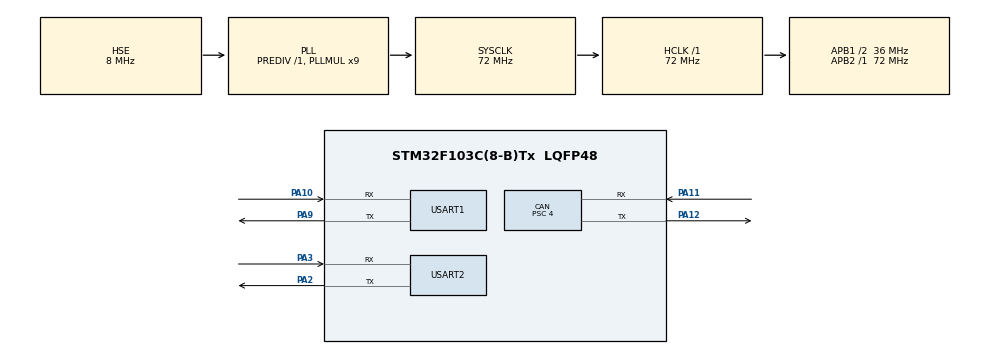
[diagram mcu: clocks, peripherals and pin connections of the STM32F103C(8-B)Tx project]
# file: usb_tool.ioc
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CAN.BS1=CAN_BS1_9TQ
CAN.BS2=CAN_BS2_8TQ
CAN.CalculateBaudRate=500000
CAN.CalculateTimeBit=2000
CAN.CalculateTimeQuantum=111.11111111111111
CAN.Prescaler=4
Mcu.Family=STM32F1
Mcu.Name=STM32F103C(8-B)Tx
Mcu.Package=LQFP48
NVIC.PriorityGroup=NVIC_PRIORITYGROUP_4
NVIC.USART1_IRQn=true\:0\:0\:false\:false\:true\:true\:true\:true
NVIC.USART2_IRQn=true\:0\:0\:false\:false\:true\:true\:true\:true
NVIC.USB_LP_CAN1_RX0_IRQn=true\:0\:0\:false\:false\:true\:true\:true\:true
PA10.Mode=Asynchronous
PA10.Signal=USART1_RX
PA11.Mode=CAN_Activate
PA11.Signal=CAN_RX
PA12.Mode=CAN_Activate
PA12.Signal=CAN_TX
PA13.Mode=Serial_Wire
PA13.Signal=SYS_JTMS-SWDIO
PA14.Mode=Serial_Wire
PA14.Signal=SYS_JTCK-SWCLK
PA2.Mode=Asynchronous
PA2.Signal=USART2_TX
PA3.Mode=Asynchronous
PA3.Signal=USART2_RX
PA9.Mode=Asynchronous
PA9.Signal=USART1_TX
PC14-OSC32_IN.Mode=LSE-External-Oscillator
PC14-OSC32_IN.Signal=RCC_OSC32_IN
PC15-OSC32_OUT.Mode=LSE-External-Oscillator
PC15-OSC32_OUT.Signal=RCC_OSC32_OUT
PD0-OSC_IN.Mode=HSE-External-Oscillator
PD0-OSC_IN.Signal=RCC_OSC_IN
PD1-OSC_OUT.Mode=HSE-External-Oscillator
PD1-OSC_OUT.Signal=RCC_OSC_OUT
ProjectManager.HeapSize=0x200
ProjectManager.StackSize=0x400
ProjectManager.TargetToolchain=MDK-ARM V5
RCC.AHBFreq_Value=72000000
RCC.APB1CLKDivider=RCC_HCLK_DIV2
RCC.APB1Freq_Value=36000000
RCC.APB1TimFreq_Value=72000000
RCC.APB2Freq_Value=72000000
RCC.APB2TimFreq_Value=72000000
RCC.HCLKFreq_Value=72000000
RCC.PLLMUL=RCC_PLL_MUL9
RCC.PLLSourceVirtual=RCC_PLLSOURCE_HSE
RCC.SYSCLKFreq_VALUE=72000000
RCC.SYSCLKSource=RCC_SYSCLKSOURCE_PLLCLK
RCC.USBFreq_Value=72000000
USART1.VirtualMode=VM_ASYNC
USART2.VirtualMode=VM_ASYNC
board=custom

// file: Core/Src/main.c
/* USER CODE BEGIN Header */
/**
 ******************************************************************************
 * @file           : main.c
 * @brief          : Main program body
 ******************************************************************************
 * @attention
 *
 * Copyright (c) 2024 STMicroelectronics.
 * All rights reserved.
 *
 * This software is licensed under terms that can be found in the LICENSE file
 * in the root directory of this software component.
 * If no LICENSE file comes with this software, it is provided AS-IS.
 *
 ******************************************************************************
 */
/* USER CODE END Header */
#include "main.h"
#include "can.h"
#include "usart.h"
#include "gpio.h"

/* USER CODE BEGIN Includes */
#include "boot_manager.h"
#include "inter_flashif.h"
#include "inter_flash_cfg.h"
#include "ymodem.h"
#include "common.h"
#include <stdio.h>

#include "common.h"
#include "canif.h"
#include "isotp.h"
#include "iso_tp_cfg.h"
/* USER CODE END Includes */

void SystemClock_Config(void);
/* USER CODE BEGIN PFP */
uint8_t ymodule_run_flag = 0; // ymodule 运行标志
/* USER CODE END PFP */

/* USER CODE BEGIN 0 */
#define OTA_CALL_MAX_WAIT           (5*1000)            //5S ota升级呼叫等待超时
uint8_t tx_data[8] ={0};

static uint8_t pData[128];
static uint8_t ota_call_flag = 0;           //ota升级呼叫标志
static uint32_t ota_call_tick = 0;           //ota升级呼叫等待

/* USER CODE END 0 */

int main(void)
{

  /* MCU Configuration--------------------------------------------------------*/

  /* Reset of all peripherals, Initializes the Flash interface and the Systick. */
  HAL_Init();

  /* Configure the system clock */
  SystemClock_Config();

  /* Initialize all configured peripherals */
  MX_GPIO_Init();
  MX_USART1_UART_Init();
  MX_CAN_Init();
  MX_USART2_UART_Init();
  /* USER CODE BEGIN 2 */
  printf("uart1:usb tool...\r\n");
  HAL_UART_Transmit(&huart2, "uart2:usb tool...\r\n", strlen("uart2:usb tool\r\n"), 0xff);
  canif_init(); // CAN底层功能初始化
  iso_tp_init(); // TP层功能初始化

  while (1)
  {

#if 1
    //等待上位机发送升级
    if (HAL_UART_Receive(&huart2, pData, 4, 0xFF) == HAL_OK) // 0xAF 0x00 升级标志 0xFA
    {
      if ((pData[0] == 0xAF) && (pData[3] == 0xFA)) // 检测到升级标志
      {
        if (pData[2] == 0x01) // 升级使能位置
        {
            printf("Upgrade will start...\r\n");

            uint8_t send_msg[8] = {0xBE, 0xAD, 0xBE, 0xEF, 0x00, 0xAA, 0xAA, 0xAA};
            send_msg[4] = 0x01;             //确认升级
            CAN1_Send_Msg(CAN_ID_CALL_OTA, (uint8_t *)send_msg, 8);
            ota_call_flag = 1;          //设置升级标志

            ota_call_tick = OTA_CALL_MAX_WAIT + HAL_GetTick(); // 设置升级超时时间
        }
      }
    }

    //建立升级请求
    if(ota_call_flag == 1)
    {
        if((ota_call_tick >=  HAL_GetTick()) && (ota_call_tick != 0))    //升级超时未到
        {
          uint32_t recv_id = 0; // 接收到数据的ID
          uint8_t recv_len = 0;
          uint8_t rxdata[8] = {0};

          recv_len = CAN1_Recv_Msg(&recv_id, rxdata);
          if(recv_len > 0)
          {
            if(recv_id == CAN_ID_CALL_OTA_ACK)      //收到升级确认信息
            {
                printf("Upgrade ack received...\r\n");
                ota_call_tick = 0;
                ota_call_flag = 0;
                ymodule_run_flag = 1; // 启动ymodem升级程序
            }
          }
        }
        else if((ota_call_tick <  HAL_GetTick()) && (ota_call_tick != 0))              //升级超时
        {
            ota_call_flag = 0;
            ota_call_tick = 0;
            printf("Upgrade timeout...\r\n");
        }

    }
#endif

#if 1 // ymodem 升级程序
        if (ymodule_run_flag == 1)
        {
            printf("Ymodule&TPClient is run,waiting for upgrade...\r\n");
            // Ymodem 串口协议测试
            extern uint8_t aFileName[FILE_NAME_LENGTH];

            uint8_t number[11] = {0};
            uint32_t size = 0;
            COM_StatusTypeDef result;
            result = Ymodem_Receive(&size);
            if (result == COM_OK)
            {
                printf((uint8_t *)"\n\n\r Programming Completed Successfully!\n\r--------------------------------\r\n Name: %s", aFileName);

                Int2Str(number, size);
                printf("Size: %dBytes", number);

                // 升级完成后，清除升级标志
                ymodule_run_flag = 0;
            }
            else
            {
                printf("=---<ret:%d\r\n", result);
            }
        }
        else
        {
            // HAL_Delay(1000);
            // printf("system error\r\n");
            // printf("reboot...\r\n");
            // HAL_Delay(2000);

            // // 重启
            // NVIC_SystemReset();
        }
#endif
    /* USER CODE END WHILE */

  }
}

void SystemClock_Config(void)
{
  RCC_OscInitTypeDef RCC_OscInitStruct = {0};
  RCC_ClkInitTypeDef RCC_ClkInitStruct = {0};

  /** Initializes the RCC Oscillators according to the specified parameters
  * in the RCC_OscInitTypeDef structure.
  */
  RCC_OscInitStruct.OscillatorType = RCC_OSCILLATORTYPE_HSE;
  RCC_OscInitStruct.HSEState = RCC_HSE_ON;
  RCC_OscInitStruct.HSEPredivValue = RCC_HSE_PREDIV_DIV1;
  RCC_OscInitStruct.HSIState = RCC_HSI_ON;
  RCC_OscInitStruct.PLL.PLLState = RCC_PLL_ON;
  RCC_OscInitStruct.PLL.PLLSource = RCC_PLLSOURCE_HSE;
  RCC_OscInitStruct.PLL.PLLMUL = RCC_PLL_MUL9;
  if (HAL_RCC_OscConfig(&RCC_OscInitStruct) != HAL_OK)
  {
    Error_Handler();
  }

  /** Initializes the CPU, AHB and APB buses clocks
  */
  RCC_ClkInitStruct.ClockType = RCC_CLOCKTYPE_HCLK|RCC_CLOCKTYPE_SYSCLK
                              |RCC_CLOCKTYPE_PCLK1|RCC_CLOCKTYPE_PCLK2;
  RCC_ClkInitStruct.SYSCLKSource = RCC_SYSCLKSOURCE_PLLCLK;
  RCC_ClkInitStruct.AHBCLKDivider = RCC_SYSCLK_DIV1;
  RCC_ClkInitStruct.APB1CLKDivider = RCC_HCLK_DIV2;
  RCC_ClkInitStruct.APB2CLKDivider = RCC_HCLK_DIV1;

  if (HAL_RCC_ClockConfig(&RCC_ClkInitStruct, FLASH_LATENCY_2) != HAL_OK)
  {
    Error_Handler();
  }
}

void Error_Handler(void)
{
  __disable_irq();
  while (1)
  {
  }
}
